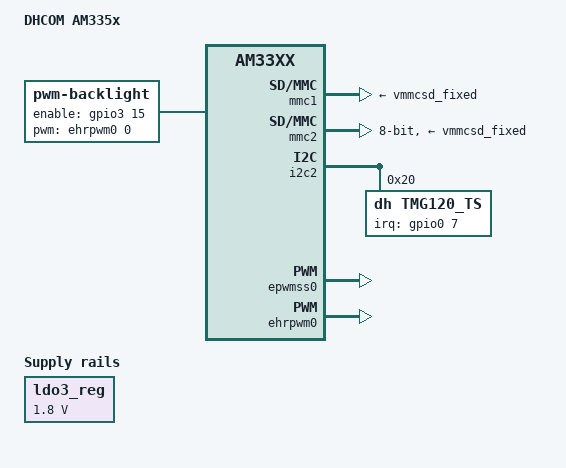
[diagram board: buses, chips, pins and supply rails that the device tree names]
/*
 * Copyright (C) 2012 Texas Instruments Incorporated - http://www.ti.com/
 *
 * This program is free software; you can redistribute it and/or modify
 * it under the terms of the GNU General Public License version 2 as
 * published by the Free Software Foundation.
 */
/dts-v1/;

#include "am33xx.dtsi"
#include <dt-bindings/pwm/pwm.h>
#include "am335x-dhcom.dtsi"

/ {
	model = "DHCOM AM335x";
	compatible = "ti,am335x-dhcom", "ti,am33xx";

	backlight {
		compatible = "pwm-backlight";
		pwms = <&ehrpwm0 0 50000 PWM_POLARITY_INVERTED>;
		brightness-levels = <0 58 61 66 75 90 125 170 255>;
		default-brightness-level = <8>;
		enable-gpios = <&gpio3 15 0>;
	};
};

&ldo3_reg {
	regulator-min-microvolt = <1800000>;
	regulator-max-microvolt = <1800000>;
	regulator-always-on;
};

&mmc1 {
	vmmc-supply = <&vmmcsd_fixed>;
};

&mmc2 { /* DHCOM on module emmc */
	vmmc-supply = <&vmmcsd_fixed>;
	pinctrl-names = "default";
	pinctrl-0 = <&emmc_pins>;
	bus-width = <8>;
	status = "okay";
};

&am33xx_pinmux {
	emmc_pins: pinmux_emmc_pins { /* eMMC interface on DHCOM */
		pinctrl-single,pins = < /* Pullups via hardware */
			0x80 (PIN_INPUT | MUX_MODE2) /* gpmc_csn1.mmc1_clk */
			0x84 (PIN_INPUT | MUX_MODE2) /* gpmc_csn2.mmc1_cmd */
			0x00 (PIN_INPUT | MUX_MODE1) /* gpmc_ad0.mmc1_dat0 */
			0x04 (PIN_INPUT | MUX_MODE1) /* gpmc_ad1.mmc1_dat1 */
			0x08 (PIN_INPUT | MUX_MODE1) /* gpmc_ad2.mmc1_dat2 */
			0x0c (PIN_INPUT | MUX_MODE1) /* gpmc_ad3.mmc1_dat3 */
			0x10 (PIN_INPUT | MUX_MODE1) /* gpmc_ad4.mmc1_dat4 */
			0x14 (PIN_INPUT | MUX_MODE1) /* gpmc_ad5.mmc1_dat5 */
			0x18 (PIN_INPUT | MUX_MODE1) /* gpmc_ad6.mmc1_dat6 */
			0x1c (PIN_INPUT | MUX_MODE1) /* gpmc_ad7.mmc1_dat7 */
		>;
	};
};

&i2c2 { /* Devices on DHCOM I2C1 */
        tmg120_ts@20 {
                compatible = "dh,tmg120_ts";
                reg = <0x20>;
                interrupt-parent = <&gpio0>;
                interrupts = <7 2>;
                status = "okay";
        };
};

&epwmss0 {
	status = "okay";
};

&ehrpwm0 { /* DHCOM PWM for Backlight */
	status = "okay";
	pinctrl-names = "default";
	pinctrl-0 = <&ehrpwm0_pins>;
};

&am33xx_pinmux {
	ehrpwm0_pins: backlight_pins {
		pinctrl-single,pins = <
			0x190 (PIN_OUTPUT_PULLDOWN | MUX_MODE1)	/* mcasp0_aclkx.ehrpwm0a MODE1 */
		>;
	};
};
